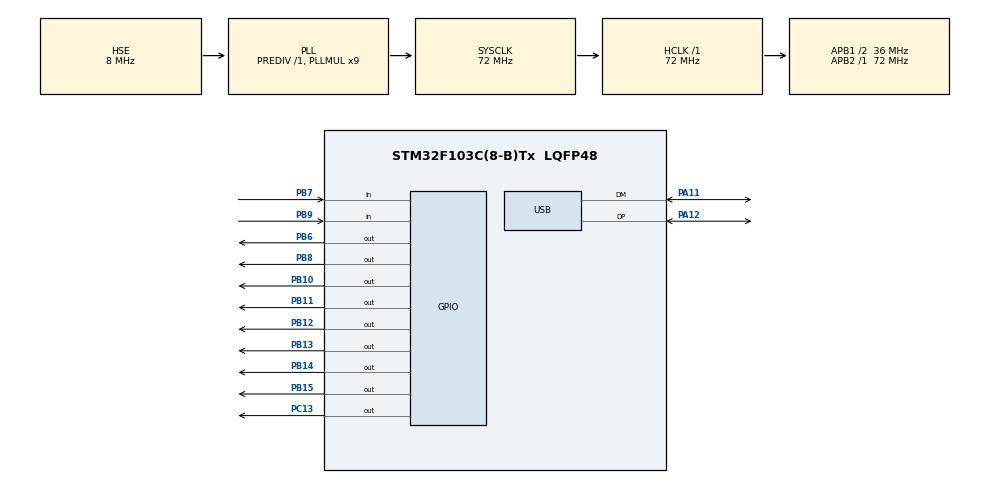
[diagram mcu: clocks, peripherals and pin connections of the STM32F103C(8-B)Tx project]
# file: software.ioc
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FREERTOS.Tasks01=defaultTask,24,128,StartDefaultTask,Default,NULL,Static,defaultTaskBuffer,defaultTaskControlBlock;KeyTask,40,128,KeyTaskFunc,Default,NULL,Static,KeyTaskBuffer,KeyTaskControlBlock;lcdTask,16,192,lcdTaskFunc,Default,NULL,Static,lcdTaskBuffer,lcdTaskControlBlock;calculatorTask,8,512,calculatorTaskFunc,Default,NULL,Static,claculatorTaskBuffer,claculatorTaskControlBlock;controllerTask,24,256,controllerTaskFunc,Default,NULL,Static,controllerTaskBuffer,controllerTaskControlBlock
FREERTOS.configCHECK_FOR_STACK_OVERFLOW=0
FREERTOS.configTIMER_TASK_STACK_DEPTH=128
FREERTOS.configTOTAL_HEAP_SIZE=1024
FREERTOS.configUSE_MALLOC_FAILED_HOOK=1
Mcu.Family=STM32F1
Mcu.Name=STM32F103C(8-B)Tx
Mcu.Package=LQFP48
NVIC.PriorityGroup=NVIC_PRIORITYGROUP_4
NVIC.TIM4_IRQn=true\:15\:0\:false\:false\:true\:false\:false\:true\:true
NVIC.TimeBase=TIM4_IRQn
NVIC.TimeBaseIP=TIM4
NVIC.USB_LP_CAN1_RX0_IRQn=true\:5\:0\:false\:false\:true\:true\:true\:true\:true
PA11.Mode=Device
PA11.Signal=USB_DM
PA12.Mode=Device
PA12.Signal=USB_DP
PA13.Mode=Serial_Wire
PA13.Signal=SYS_JTMS-SWDIO
PA14.Mode=Serial_Wire
PA14.Signal=SYS_JTCK-SWCLK
PB10.Signal=GPIO_Output
PB11.Signal=GPIO_Output
PB12.Signal=GPIO_Output
PB13.PinState=GPIO_PIN_RESET
PB13.Signal=GPIO_Output
PB14.Signal=GPIO_Output
PB15.Signal=GPIO_Output
PB6.PinState=GPIO_PIN_SET
PB6.Signal=GPIO_Output
PB7.Signal=GPIO_Input
PB8.GPIO_Speed=GPIO_SPEED_FREQ_LOW
PB8.PinState=GPIO_PIN_SET
PB8.Signal=GPIO_Output
PB9.Signal=GPIO_Input
PC13-TAMPER-RTC.PinState=GPIO_PIN_SET
PC13-TAMPER-RTC.Signal=GPIO_Output
PC14-OSC32_IN.Mode=LSE-External-Oscillator
PC14-OSC32_IN.Signal=RCC_OSC32_IN
PC15-OSC32_OUT.Mode=LSE-External-Oscillator
PC15-OSC32_OUT.Signal=RCC_OSC32_OUT
PD0-OSC_IN.Mode=HSE-External-Oscillator
PD0-OSC_IN.Signal=RCC_OSC_IN
PD1-OSC_OUT.Mode=HSE-External-Oscillator
PD1-OSC_OUT.Signal=RCC_OSC_OUT
ProjectManager.HeapSize=0x0
ProjectManager.StackSize=0x400
ProjectManager.TargetToolchain=CMake
RCC.AHBFreq_Value=72000000
RCC.APB1CLKDivider=RCC_HCLK_DIV2
RCC.APB1Freq_Value=36000000
RCC.APB1TimFreq_Value=72000000
RCC.APB2Freq_Value=72000000
RCC.APB2TimFreq_Value=72000000
RCC.HCLKFreq_Value=72000000
RCC.PLLMUL=RCC_PLL_MUL9
RCC.PLLSourceVirtual=RCC_PLLSOURCE_HSE
RCC.SYSCLKFreq_VALUE=72000000
RCC.SYSCLKSource=RCC_SYSCLKSOURCE_PLLCLK
RCC.USBFreq_Value=48000000
RCC.USBPrescaler=RCC_USBCLKSOURCE_PLL_DIV1_5
TIM3.Prescaler=71
USB_DEVICE.APP_RX_DATA_SIZE=128
USB_DEVICE.APP_TX_DATA_SIZE=128
USB_DEVICE.CLASS_NAME_FS=CDC
USB_DEVICE.USBD_MAX_STR_DESC_SIZ=64
USB_DEVICE.VirtualMode=Cdc
USB_DEVICE.VirtualModeFS=Cdc_FS
VP_FREERTOS_VS_CMSIS_V2.Mode=CMSIS_V2
VP_SYS_VS_tim4.Mode=TIM4
VP_TIM3_VS_ClockSourceINT.Mode=Internal
VP_USB_DEVICE_VS_USB_DEVICE_CDC_FS.Mode=CDC_FS
board=custom

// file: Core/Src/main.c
/* USER CODE BEGIN Header */
/**
  ******************************************************************************
  * @file           : main.c
  * @brief          : Main program body
  ******************************************************************************
  * @attention
  *
  * Copyright (c) 2026 STMicroelectronics.
  * All rights reserved.
  *
  * This software is licensed under terms that can be found in the LICENSE file
  * in the root directory of this software component.
  * If no LICENSE file comes with this software, it is provided AS-IS.
  *
  ******************************************************************************
  */
/* USER CODE END Header */
#include "main.h"
#include "cmsis_os.h"

/* USER CODE BEGIN Includes */
#include "calculator_app.h"
/*
 * CubeMX still owns the optional USB configuration used by the separate
 * self-test image. Keep calculator regeneration from starting USB.
 */
/* #define MX_USB_DEVICE_Init() ((void)0) */
#include "usb_device.h"
/* USER CODE END Includes */

typedef StaticTask_t osStaticThreadDef_t;

TIM_HandleTypeDef htim3;

/* Definitions for defaultTask */
osThreadId_t defaultTaskHandle;
uint32_t defaultTaskBuffer[ 128 ];
osStaticThreadDef_t defaultTaskControlBlock;
const osThreadAttr_t defaultTask_attributes = {
  .name = "defaultTask",
  .cb_mem = &defaultTaskControlBlock,
  .cb_size = sizeof(defaultTaskControlBlock),
  .stack_mem = &defaultTaskBuffer[0],
  .stack_size = sizeof(defaultTaskBuffer),
  .priority = (osPriority_t) osPriorityNormal,
};
/* Definitions for KeyTask */
osThreadId_t KeyTaskHandle;
uint32_t KeyTaskBuffer[ 128 ];
osStaticThreadDef_t KeyTaskControlBlock;
const osThreadAttr_t KeyTask_attributes = {
  .name = "KeyTask",
  .cb_mem = &KeyTaskControlBlock,
  .cb_size = sizeof(KeyTaskControlBlock),
  .stack_mem = &KeyTaskBuffer[0],
  .stack_size = sizeof(KeyTaskBuffer),
  .priority = (osPriority_t) osPriorityHigh,
};
/* Definitions for lcdTask */
osThreadId_t lcdTaskHandle;
uint32_t lcdTaskBuffer[ 192 ];
osStaticThreadDef_t lcdTaskControlBlock;
const osThreadAttr_t lcdTask_attributes = {
  .name = "lcdTask",
  .cb_mem = &lcdTaskControlBlock,
  .cb_size = sizeof(lcdTaskControlBlock),
  .stack_mem = &lcdTaskBuffer[0],
  .stack_size = sizeof(lcdTaskBuffer),
  .priority = (osPriority_t) osPriorityBelowNormal,
};
/* Definitions for calculatorTask */
osThreadId_t calculatorTaskHandle;
uint32_t claculatorTaskBuffer[ 512 ];
osStaticThreadDef_t claculatorTaskControlBlock;
const osThreadAttr_t calculatorTask_attributes = {
  .name = "calculatorTask",
  .cb_mem = &claculatorTaskControlBlock,
  .cb_size = sizeof(claculatorTaskControlBlock),
  .stack_mem = &claculatorTaskBuffer[0],
  .stack_size = sizeof(claculatorTaskBuffer),
  .priority = (osPriority_t) osPriorityLow,
};
/* Definitions for controllerTask */
osThreadId_t controllerTaskHandle;
uint32_t controllerTaskBuffer[ 256 ];
osStaticThreadDef_t controllerTaskControlBlock;
const osThreadAttr_t controllerTask_attributes = {
  .name = "controllerTask",
  .cb_mem = &controllerTaskControlBlock,
  .cb_size = sizeof(controllerTaskControlBlock),
  .stack_mem = &controllerTaskBuffer[0],
  .stack_size = sizeof(controllerTaskBuffer),
  .priority = (osPriority_t) osPriorityNormal,
};

void SystemClock_Config(void);
static void MX_GPIO_Init(void);
static void MX_TIM3_Init(void);
void StartDefaultTask(void *argument);
void KeyTaskFunc(void *argument);
void lcdTaskFunc(void *argument);
void calculatorTaskFunc(void *argument);
void controllerTaskFunc(void *argument);

int main(void)

{

  /* MCU Configuration--------------------------------------------------------*/

  /* Reset of all peripherals, Initializes the Flash interface and the Systick. */
  HAL_Init();

  /* Configure the system clock */
  SystemClock_Config();

  /* Initialize all configured peripherals */
  MX_GPIO_Init();
  MX_TIM3_Init();
  /* USER CODE BEGIN 2 */

  if (HAL_TIM_Base_Start(&htim3) != HAL_OK)
  {
    Error_Handler();
  }
  MX_USB_DEVICE_Init();

  /* USER CODE END 2 */

  /* Init scheduler */
  osKernelInitialize();

  /* USER CODE BEGIN RTOS_QUEUES */
  calculator_app_init();
  /* USER CODE END RTOS_QUEUES */

  /* Create the thread(s) */
  /* creation of defaultTask */
  defaultTaskHandle = osThreadNew(StartDefaultTask, NULL, &defaultTask_attributes);

  /* creation of KeyTask */
  KeyTaskHandle = osThreadNew(KeyTaskFunc, NULL, &KeyTask_attributes);

  /* creation of lcdTask */
  lcdTaskHandle = osThreadNew(lcdTaskFunc, NULL, &lcdTask_attributes);

  /* creation of calculatorTask */
  calculatorTaskHandle = osThreadNew(calculatorTaskFunc, NULL, &calculatorTask_attributes);

  /* creation of controllerTask */
  controllerTaskHandle = osThreadNew(controllerTaskFunc, NULL, &controllerTask_attributes);

  /* Start scheduler */
  osKernelStart();

  /* We should never get here as control is now taken by the scheduler */

  /* Infinite loop */
  while (1)
  {

  }
}

void SystemClock_Config(void)
{
  RCC_OscInitTypeDef RCC_OscInitStruct = {0};
  RCC_ClkInitTypeDef RCC_ClkInitStruct = {0};
  RCC_PeriphCLKInitTypeDef PeriphClkInit = {0};

  /** Initializes the RCC Oscillators according to the specified parameters
  * in the RCC_OscInitTypeDef structure.
  */
  RCC_OscInitStruct.OscillatorType = RCC_OSCILLATORTYPE_HSE;
  RCC_OscInitStruct.HSEState = RCC_HSE_ON;
  RCC_OscInitStruct.HSEPredivValue = RCC_HSE_PREDIV_DIV1;
  RCC_OscInitStruct.HSIState = RCC_HSI_ON;
  RCC_OscInitStruct.PLL.PLLState = RCC_PLL_ON;
  RCC_OscInitStruct.PLL.PLLSource = RCC_PLLSOURCE_HSE;
  RCC_OscInitStruct.PLL.PLLMUL = RCC_PLL_MUL9;
  if (HAL_RCC_OscConfig(&RCC_OscInitStruct) != HAL_OK)
  {
    Error_Handler();
  }

  /** Initializes the CPU, AHB and APB buses clocks
  */
  RCC_ClkInitStruct.ClockType = RCC_CLOCKTYPE_HCLK|RCC_CLOCKTYPE_SYSCLK
                              |RCC_CLOCKTYPE_PCLK1|RCC_CLOCKTYPE_PCLK2;
  RCC_ClkInitStruct.SYSCLKSource = RCC_SYSCLKSOURCE_PLLCLK;
  RCC_ClkInitStruct.AHBCLKDivider = RCC_SYSCLK_DIV1;
  RCC_ClkInitStruct.APB1CLKDivider = RCC_HCLK_DIV2;
  RCC_ClkInitStruct.APB2CLKDivider = RCC_HCLK_DIV1;

  if (HAL_RCC_ClockConfig(&RCC_ClkInitStruct, FLASH_LATENCY_2) != HAL_OK)
  {
    Error_Handler();
  }
  PeriphClkInit.PeriphClockSelection = RCC_PERIPHCLK_USB;
  PeriphClkInit.UsbClockSelection = RCC_USBCLKSOURCE_PLL_DIV1_5;
  if (HAL_RCCEx_PeriphCLKConfig(&PeriphClkInit) != HAL_OK)
  {
    Error_Handler();
  }
}

static void MX_TIM3_Init(void)
{

  TIM_ClockConfigTypeDef sClockSourceConfig = {0};
  TIM_MasterConfigTypeDef sMasterConfig = {0};

  htim3.Instance = TIM3;
  htim3.Init.Prescaler = 71;
  htim3.Init.CounterMode = TIM_COUNTERMODE_UP;
  htim3.Init.Period = 65535;
  htim3.Init.ClockDivision = TIM_CLOCKDIVISION_DIV1;
  htim3.Init.AutoReloadPreload = TIM_AUTORELOAD_PRELOAD_DISABLE;
  if (HAL_TIM_Base_Init(&htim3) != HAL_OK)
  {
    Error_Handler();
  }
  sClockSourceConfig.ClockSource = TIM_CLOCKSOURCE_INTERNAL;
  if (HAL_TIM_ConfigClockSource(&htim3, &sClockSourceConfig) != HAL_OK)
  {
    Error_Handler();
  }
  sMasterConfig.MasterOutputTrigger = TIM_TRGO_RESET;
  sMasterConfig.MasterSlaveMode = TIM_MASTERSLAVEMODE_DISABLE;
  if (HAL_TIMEx_MasterConfigSynchronization(&htim3, &sMasterConfig) != HAL_OK)
  {
    Error_Handler();
  }

}

static void MX_GPIO_Init(void)
{
  GPIO_InitTypeDef GPIO_InitStruct = {0};

  /* GPIO Ports Clock Enable */
  __HAL_RCC_GPIOC_CLK_ENABLE();
  __HAL_RCC_GPIOD_CLK_ENABLE();
  __HAL_RCC_GPIOB_CLK_ENABLE();
  __HAL_RCC_GPIOA_CLK_ENABLE();

  /*Configure GPIO pin Output Level */
  HAL_GPIO_WritePin(GPIOC, GPIO_PIN_13, GPIO_PIN_SET);

  /*Configure GPIO pin Output Level */
  HAL_GPIO_WritePin(GPIOB, GPIO_PIN_10|GPIO_PIN_11|GPIO_PIN_12|GPIO_PIN_13
                          |GPIO_PIN_14|GPIO_PIN_15, GPIO_PIN_RESET);

  /*Configure GPIO pin Output Level */
  HAL_GPIO_WritePin(GPIOB, GPIO_PIN_6|GPIO_PIN_8, GPIO_PIN_SET);

  /*Configure GPIO pin : PC13 */
  GPIO_InitStruct.Pin = GPIO_PIN_13;
  GPIO_InitStruct.Mode = GPIO_MODE_OUTPUT_PP;
  GPIO_InitStruct.Pull = GPIO_NOPULL;
  GPIO_InitStruct.Speed = GPIO_SPEED_FREQ_LOW;
  HAL_GPIO_Init(GPIOC, &GPIO_InitStruct);

  /*Configure GPIO pins : PB10 PB11 PB12 PB13
                           PB14 PB15 PB6 PB8 */
  GPIO_InitStruct.Pin = GPIO_PIN_10|GPIO_PIN_11|GPIO_PIN_12|GPIO_PIN_13
                          |GPIO_PIN_14|GPIO_PIN_15|GPIO_PIN_6|GPIO_PIN_8;
  GPIO_InitStruct.Mode = GPIO_MODE_OUTPUT_PP;
  GPIO_InitStruct.Pull = GPIO_NOPULL;
  GPIO_InitStruct.Speed = GPIO_SPEED_FREQ_LOW;
  HAL_GPIO_Init(GPIOB, &GPIO_InitStruct);

  /*Configure GPIO pins : PB7 PB9 */
  GPIO_InitStruct.Pin = GPIO_PIN_7|GPIO_PIN_9;
  GPIO_InitStruct.Mode = GPIO_MODE_INPUT;
  GPIO_InitStruct.Pull = GPIO_NOPULL;
  HAL_GPIO_Init(GPIOB, &GPIO_InitStruct);

}

void StartDefaultTask(void *argument)
{
  /* USER CODE BEGIN 5 */
  (void)argument;
  calculator_heartbeat_task();
  /* USER CODE END 5 */
}

void KeyTaskFunc(void *argument)
{
  /* USER CODE BEGIN KeyTaskFunc */

  (void)argument;
  calculator_key_task();
  /* USER CODE END KeyTaskFunc */
}

void lcdTaskFunc(void *argument)
{
  /* USER CODE BEGIN lcdTaskFunc */
  (void)argument;
  calculator_lcd_task();
  /* USER CODE END lcdTaskFunc */
}

void calculatorTaskFunc(void *argument)
{
  /* USER CODE BEGIN calculatorTaskFunc */
  (void)argument;
  calculator_compute_task();
  /* USER CODE END calculatorTaskFunc */
}

void controllerTaskFunc(void *argument)
{
  /* USER CODE BEGIN controllerTaskFunc */
  (void)argument;
  calculator_controller_task();
  /* USER CODE END controllerTaskFunc */
}

void HAL_TIM_PeriodElapsedCallback(TIM_HandleTypeDef *htim)
{
  if (htim->Instance == TIM4) {
    HAL_IncTick();
  }
}

void Error_Handler(void)
{
  __disable_irq();
  while (1)
  {
  }
}
